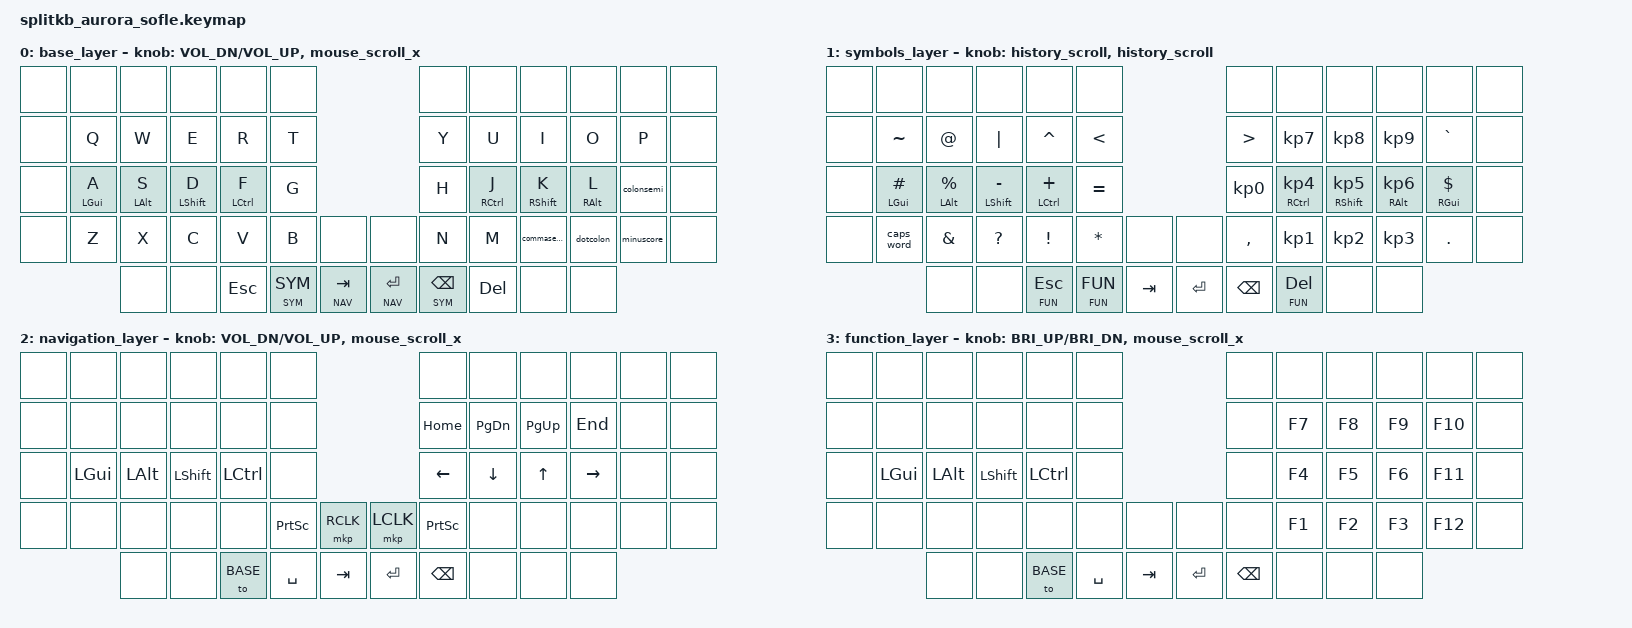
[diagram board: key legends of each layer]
/*
 * Copyright (c) 2023 The ZMK Contributors
 * SPDX-License-Identifier: MIT
 *
 * Aurora Sofle V2 Rev 1.1. Board with two rotary encoders.
 * Home row mods, dedicated shift key on standard keyboard positions. Thumb keys with layers hold-tap for space and backspace.
 * Right-shifted wasd gaming layer with an additional raised gaming layer
 * Keymap by Sjur Barndon. 
 * 
 */

#include <behaviors.dtsi>
#include <dt-bindings/zmk/keys.h>
#include <dt-bindings/zmk/bt.h>
#include <dt-bindings/zmk/ext_power.h>


#define BASE 0
#define SYM 1
#define NAV 2
#define FUN 3

// Mouse and rotary redefinition:
#define ZMK_POINTING_DEFAULT_MOVE_VAL 5000   // default: 600
#define ZMK_POINTING_DEFAULT_SCRL_VAL 140    // default: 10

    &mmv {
        x-input-code = <INPUT_REL_X>;
        y-input-code = <INPUT_REL_Y>;
        time-to-max-speed-ms = <90>;
        acceleration-exponent = <1>;
    };
    &sensors {
        triggers-per-rotation = <72>;
    };


#include <dt-bindings/zmk/pointing.h>
#include <dt-bindings/zmk/mouse.h>

/ {
    behaviors {
        dbbs: double_tap_backspace {               // This should backspace when pressed once, and ctrl backspace (backspace word) when double tapped 
            compatible = "zmk,behavior-tap-dance";
            #binding-cells = <0>;
            tapping-term-ms = <200>;
            bindings = <&kp BSPC>, <&kp LC(BSPC)>;
        };

        dbbsdel: double_back_delete {
            compatible = "zmk,behavior-mod-morph";
            #binding-cells = <0>;
            bindings = <&dbbs>, <&kp DELETE>;
            mods = <(MOD_LSFT|MOD_RSFT)>;
        };

        // Macros (bluetooth)
        bt0: btmacro0 {
            compatible = "zmk,behavior-macro";
            #binding-cells = <0>;
            bindings = <&macro_press &bt BT_SEL 0>,<&macro_press &to 0>;
        };        
        bt1: btmacro1 {
            compatible = "zmk,behavior-macro";
            #binding-cells = <0>;
            bindings = <&macro_press &bt BT_SEL 1>,<&macro_press &to 0>;
        };        
        bt2: btmacro2 {
            compatible = "zmk,behavior-macro";
            #binding-cells = <0>;
            bindings = <&macro_press &bt BT_SEL 2>,<&macro_press &to 0>;
        };
        bt3: btmacro3 {
            compatible = "zmk,behavior-macro";
            #binding-cells = <0>;
            bindings = <&macro_press &bt BT_SEL 3>,<&macro_press &to 0>;
        };

        // Sensor rotation:
        a_scroll_y: sensor_arrow_scroll_y {
            compatible = "zmk,behavior-sensor-rotate";
            #sensor-binding-cells = <0>;
            bindings = <&kp LEFT_ARROW>, <&kp RIGHT_ARROW>;
            tap-ms = <20>;  
        };
        a_scroll_x: sensor_arrow_scroll_x {
            compatible = "zmk,behavior-sensor-rotate";
            #sensor-binding-cells = <0>;
            bindings = <&kp UP_ARROW>, <&kp DOWN_ARROW>;
            tap-ms = <20>;              
        };
        mouse_move_x: mouse_move_x {
            compatible = "zmk,behavior-sensor-rotate";
            #sensor-binding-cells = <0>;
            bindings = <&mmv MOVE_UP>, <&mmv MOVE_DOWN>;
            tap-ms = <20>;  
        };
        mouse_move_y: mouse_move_y {
            compatible = "zmk,behavior-sensor-rotate";
            #sensor-binding-cells = <0>;
            bindings = <&mmv MOVE_LEFT>, <&mmv MOVE_RIGHT>;
            tap-ms = <20>;  
        };
        mouse_scroll_x: mouse_scroll_x {
            compatible = "zmk,behavior-sensor-rotate";
            #sensor-binding-cells = <0>;
            bindings = <&msc SCRL_UP>, <&msc SCRL_DOWN>;
            tap-ms = <20>;  
        };
        mouse_scroll_y: mouse_scroll_y {
            compatible = "zmk,behavior-sensor-rotate";
            #sensor-binding-cells = <0>;
            bindings = <&msc SCRL_LEFT>, <&msc SCRL_RIGHT>;
            tap-ms = <20>; 
        };

        //ctrl z and ctrl y on rotation
        history_scroll: history_scroll {
            compatible = "zmk,behavior-sensor-rotate";
            #sensor-binding-cells = <0>;
            bindings = <&kp LC(Z)>, <&kp LC(Y)>;
            tap-ms = <20>; 
        };

        //mod morph for norwegian layout
        dotcolon: dot_colon {
            compatible = "zmk,behavior-mod-morph";
            #binding-cells = <0>;
            bindings = <&kp DOT>, <&kp COLON>;
            mods = <(MOD_LSFT|MOD_RSFT)>;
        };
        commasemi: comma_semi {
            compatible = "zmk,behavior-mod-morph";
            #binding-cells = <0>;
            bindings = <&kp COMMA>, <&kp SEMICOLON>;
            mods = <(MOD_LSFT|MOD_RSFT)>;
        };
        starapo: star_apostrophe {
            compatible = "zmk,behavior-mod-morph";
            #binding-cells = <0>;
            bindings = <&kp STAR>, <&kp APOSTROPHE>;
            mods = <(MOD_LSFT|MOD_RSFT)>;
        };
        minuscore: minus_underscore {
            compatible = "zmk,behavior-mod-morph";
            #binding-cells = <0>;
            bindings = <&kp MINUS>, <&kp UNDERSCORE>;
            mods = <(MOD_LSFT|MOD_RSFT)>;
        };

        colonsemi: colon_semi_shiftmod {
            compatible = "zmk,behavior-mod-morph";
            #binding-cells = <0>;
            bindings = <&kp COLON>, <&kp SEMICOLON>;
            mods = <(MOD_LSFT|MOD_RSFT)>;
        };
        /* hm_cosem: gui_colon_semi_shift { */
        /*     compatible = "zmk,behavior-hold-tap"; */
        /*     #binding-cells = <2>; */
        /*     flavor = "hold-preferred"; */
        /*     tapping-term-ms = <200>; */
        /*     bindings = <&mo>, <&colonsemi>; */
        /* }; */
        //Super space key nested into spacemod below: tap - space, hold - momentary layer, shift+tap - backspace, gui+alt+tap - delete
        spacectrl: delete_ctrl_shift_space {
            compatible = "zmk,behavior-mod-morph";
            #binding-cells = <0>;
            bindings = <&kp BACKSPACE>, <&kp DEL>;
            mods = <(MOD_LGUI|MOD_RGUI)>;
        };

        spaceshift: shift_space_is_backspace { 
            compatible = "zmk,behavior-mod-morph";
            #binding-cells = <0>;
            bindings = <&kp SPACE>, <&spacectrl>;          
            mods = <(MOD_LSFT|MOD_RSFT)>;       
        };


        backspace_shift: shift_backspace_is_ctrl_backspace {
            compatible = "zmk,behavior-mod-morph";
            #binding-cells = <0>;
            bindings = <&kp BACKSPACE>, <&kp LC(BACKSPACE)>;          
            mods = <(MOD_LSFT|MOD_RSFT)>;       
        };

        backspacemod: sym_hold_shift_backspace {
            compatible = "zmk,behavior-hold-tap";
            #binding-cells = <2>;
            flavor = "hold-preferred";
            tapping-term-ms = <200>;
            bindings = <&mo>, <&backspace_shift>;
        };
        
        spacemod: spaceshift_and_layer_hold {
            compatible = "zmk,behavior-hold-tap";
            #binding-cells = <2>;
            flavor = "hold-preferred";
            tapping-term-ms = <200>;
            bindings = <&mo>, <&spaceshift>;
        };
        capsword_hold_tap: hold_tap_capsword_key {
            compatible = "zmk,behavior-hold-tap";
            #binding-cells = <2>;
            flavor = "hold-preferred";
            tapping-term-ms = <400>;
            bindings = <&caps_word>, <&kp>;
        };
        hm: homerow_mods {
            compatible = "zmk,behavior-hold-tap";
            #binding-cells = <2>;
            tapping-term-ms = <200>;
            quick_tap_ms = <0>;
            flavor = "tap-preferred";
            bindings = <&kp>, <&kp>;
        };

        // mod morph for brackets:
        mod_morph_lpar_rpar: mod-morph-lpar {
            compatible = "zmk,behavior-mod-morph";
            #binding-cells = <0>;
            bindings = <&kp LPAR>, <&kp RPAR>;
            mods = <(MOD_LSFT|MOD_RSFT)>;
        };

        mod_morph_rpar_lpar: mod-morph-rpar {
            compatible = "zmk,behavior-mod-morph"; 
            #binding-cells = <0>;
            bindings = <&kp RPAR>, <&kp LPAR>;
            mods = <(MOD_LSFT|MOD_RSFT)>;
        };
        // [ and ]
        mod_morph_lbkt_rbkt: mod-morph-lbkt {
            compatible = "zmk,behavior-mod-morph";
            #binding-cells = <0>;
            bindings = <&kp LBKT>, <&kp RBKT>;  
            mods = <(MOD_LSFT|MOD_RSFT)>;
        };

        mod_morph_rbkt_lbkt: mod-morph-rbkt {
            compatible = "zmk,behavior-mod-morph";
            #binding-cells = <0>;
            bindings = <&kp RBKT>, <&kp LBKT>;
            mods = <(MOD_LSFT|MOD_RSFT)>;
        };

        // { and }
        mod_morph_lcbr_rcbr: mod-morph-lcbr {
            compatible = "zmk,behavior-mod-morph";
            #binding-cells = <0>;
            bindings = <&kp LBRC>, <&kp RBRC>;
            mods = <(MOD_LSFT|MOD_RSFT)>;
        };

        mod_morph_rcbr_lcbr: mod-morph-rcbr {
            compatible = "zmk,behavior-mod-morph";
            #binding-cells = <0>;
            bindings = <&kp RBRC>, <&kp LBRC>;
            mods = <(MOD_LSFT|MOD_RSFT)>;
        };

        // < and >
        mod_morph_lt_gt: mod-morph-lt {
            compatible = "zmk,behavior-mod-morph";
            #binding-cells = <0>;
            bindings = <&kp LT>, <&kp GT>;
            mods = <(MOD_LSFT|MOD_RSFT)>;
        };

        mod_morph_gt_lt: mod-morph-gt {
            compatible = "zmk,behavior-mod-morph";
            #binding-cells = <0>;
            bindings = <&kp GT>, <&kp LT>;
            mods = <(MOD_LSFT|MOD_RSFT)>;
        };
        
    };

    combos {
        compatible = "zmk,combos";
        combo_quote {
            timeout-ms = <50>;
            layers = <0 1>;
            key-positions = <27 28>;          //df
            bindings = <&kp DOUBLE_QUOTES>;
        };
        combo_apostrophe {
            timeout-ms = <50>;
            layers = <0 1>;
            key-positions = <31 32>;          //jk
            bindings = <&kp APOSTROPHE>;
        };
        combo_parantesis_open {
            timeout-ms = <50>;
            layers = <0 1>;
            key-positions = <26 28>;
            bindings = <&mod_morph_lpar_rpar>;
        };
        combo_parantesis_close {
            timeout-ms = <50>;
            layers = <0 1>;
            key-positions = <31 33>;
            bindings = <&mod_morph_rpar_lpar>;
        };
        combo_forward_slash {
            timeout-ms = <50>;
            layers = <0 1>;
            key-positions = <25 28>; // af
            bindings = <&kp FSLH>;
        };
        combo_backwards_slash {
            timeout-ms = <50>;
            layers = <0 1>;
            key-positions = <31 34>; // j:
            bindings = <&kp BSLH>;
        };
        combo_curlybracket_open {
            timeout-ms = <50>;
            layers = <0 1>;
            key-positions = <38 40>; // xv
            bindings = <&mod_morph_lcbr_rcbr>;
        };
        combo_curlybracket_close {
            timeout-ms = <50>;
            layers = <0 1>;
            key-positions = <45 47>; // m.
            bindings = <&mod_morph_rcbr_lcbr>;
        };
        combo_bracket_open {
            timeout-ms = <50>;
            layers = <0 1>;
            key-positions = <14 16>; // wr
            bindings = <&mod_morph_lbkt_rbkt>;
        };
        combo_bracket_close {
            timeout-ms = <50>;
            layers = <0 1>;
            key-positions = <19 21>; // uo
            bindings = <&mod_morph_rbkt_lbkt>;
        };

        combo_alligator_open {
            timeout-ms = <50>;
            layers = <0 1>;
            key-positions = <2 4>; // 24
            bindings = <&mod_morph_lt_gt>;
        };
        combo_alligator_close {
            timeout-ms = <50>;
            layers = <0 1>;
            key-positions = <7 9>; // 79
            bindings = <&mod_morph_gt_lt>;
        };
        combo_return_to_base_layer { // Global scope combo on the left half to return to base layer
            timeout-ms = <50>;
            key-positions = <0 41>; //ESC + B
            bindings = <&to BASE>;
        };

    };

    macros {
        comment: vs_code_comment{
            compatible = "zmk,behavior-macro";
            #binding-cells = <0>;
            bindings
                = <&macro_press &kp LEFT_CONTROL>
                , <&macro_tap &kp K &kp C>
                , <&macro_release &kp LEFT_CONTROL>
                ;
        };
        uncomment: vs_code_uncomment{
            compatible = "zmk,behavior-macro";
            #binding-cells = <0>;
            bindings
                = <&macro_press &kp LEFT_CONTROL>
                , <&macro_tap &kp K &kp U>
                , <&macro_release &kp LEFT_CONTROL>
                ;
        };
    };
    
    
    keymap {
        compatible = "zmk,keymap";

        base_layer { //Layer 0  - BASE
            bindings = <

&none       &none         &none       &none        &none       &none                                             &none                   &none       &none         &none         &none               &none 
&none       &kp Q         &kp W       &kp E        &kp R       &kp T                                             &kp Y                   &kp U       &kp I         &kp O         &kp P               &none 
&none       &hm LGUI A    &hm LALT S  &hm LSHFT D  &hm LCTRL F &kp G                                             &kp H                   &hm RCTRL J &hm RSHIFT K  &hm RALT L    &colonsemi          &none
&none       &kp Z         &kp X       &kp C        &kp V       &kp B               &none          &none          &kp N                   &kp M       &commasemi    &dotcolon     &minuscore          &none
                          &none       &none        &kp ESC     &spacemod SYM SYM   &lt NAV TAB    &lt NAV ENTER  &lt SYM BACKSPACE       &kp DEL     &none         &none  
            >;                                                                               
            sensor-bindings = <&inc_dec_kp C_VOL_DN C_VOL_UP &mouse_scroll_x>;
        };                  

        symbols_layer { //Layer 1 - SYM
            bindings = <

&none  &none          &none          &none            &none           &none                                 &none        &none            &none             &none           &none            &none 
&none  &kp TILDE      &kp AT         &kp PIPE         &kp CARET       &kp LT                                &kp GT       &kp KP_N7        &kp KP_N8         &kp KP_N9       &kp GRAVE        &none
&none  &hm LGUI HASH  &hm LALT PRCNT &hm LSHFT MINUS  &hm LCTRL PLUS  &kp EQUAL                             &kp KP_N0    &hm RCTRL KP_N4  &hm RSHIFT KP_N5  &hm RALT KP_N6  &hm RGUI DOLLAR  &none
&none  &caps_word     &kp AMPS       &kp QMARK        &kp EXCL        &kp STAR           &none    &none     &kp COMMA    &kp KP_N1        &kp KP_N2         &kp KP_N3       &kp DOT           &none
                      &none          &none            &lt FUN ESC     &spacemod FUN FUN  &kp TAB  &kp RET   &kp BSPC     &lt FUN DEL      &none             &none
            >;
            sensor-bindings = <&history_scroll &history_scroll>; 
        };      

        navigation_layer { //Layer 2 - NAV
            bindings = <

&none      &none        &none            &none        &none             &none                            &none      &none     &none             &none       &none   &none 
&none      &none        &none            &none        &none             &none                            &kp HOME   &kp PG_DN &kp PG_UP         &kp END     &none   &none
&none      &kp LGUI     &kp LALT         &kp LSHFT    &kp LCTRL         &none                            &kp LEFT   &kp DOWN  &kp UP            &kp RIGHT   &none   &none
&none      &none        &none            &none        &none             &kp PSCRN  &mkp RCLK  &mkp LCLK  &kp PSCRN  &none     &none             &none       &none   &none
                        &none            &none        &to BASE          &kp SPACE  &kp TAB    &kp RET    &kp BSPC   &none     &none             &none
             >;
            sensor-bindings = <&inc_dec_kp C_VOL_DN C_VOL_UP &mouse_scroll_x>;
        };

        function_layer { //Layer 3 - FUN
            bindings = <

&none       &none     &none            &none           &none           &none                          &none       &none      &none      &none       &none    &none 
&none       &none     &none            &none           &none           &none                          &none       &kp F7     &kp F8     &kp F9      &kp F10  &none
&none       &kp LGUI  &kp LALT         &kp LSHFT       &kp LCTRL       &none                          &none       &kp F4     &kp F5     &kp F6      &kp F11  &none
&none       &none     &none            &none           &none           &none      &none     &none     &none       &kp F1     &kp F2     &kp F3      &kp F12  &none
                      &none            &none           &to BASE        &kp SPACE  &kp TAB   &kp RET   &kp BSPC    &none      &none      &none
            >;
            sensor-bindings = <&inc_dec_kp C_BRI_UP C_BRI_DN &mouse_scroll_x>; 
        };
    };
};
